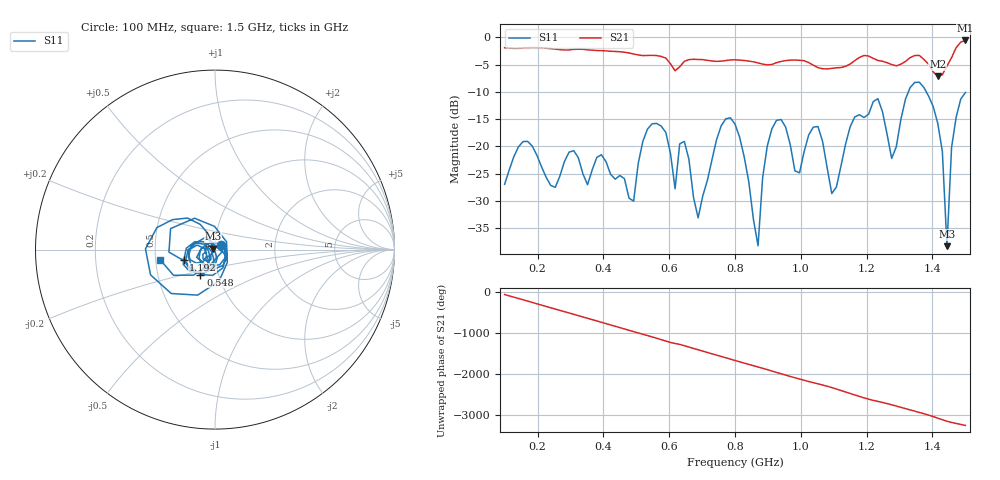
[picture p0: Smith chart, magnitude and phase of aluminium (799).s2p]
! NanoVNA-App
! Date: 2025-09-25 15:01:30
! Start: 100MHz Stop: 1,5GHz Points: 101
! S-Parameter data: F S11 S21 S12 S22
# Hz S RI R 50
!  Frequency  S11_Real  S11_Imag  S21_Real  S21_Imag  S12_Real  S12_Imag  S22_Real  S22_Imag
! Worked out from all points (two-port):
!   101 points, 100 MHz to 1.5 GHz, reference 50 ohm
!   highest |S21| = -0.58 dB at 1.5 GHz (marker M1); lowest = -7.1 dB at 1.416 GHz (marker M2)
!   |S21| within 3 dB of the highest: start of sweep to 579.1 MHz; 1.459 GHz to end of sweep (the widest 2 of 4)
!   lowest |S11| = -38.3 dB at 1.444 GHz (marker M3), VSWR 1.02, Z = 48.9 + j0.537 ohm
!   |S11| at or under -10 dB: start of sweep to 1.327 GHz; 1.381 GHz to end of sweep
!   S12 and S22 are empty: the file has one direction only
!   S11 on the Smith chart (normalised r, x): 100 MHz: 1.07, +0.06; 548 MHz: 0.82, -0.23; 1.192 GHz: 0.70, -0.08; 1.5 GHz: 0.53, -0.07
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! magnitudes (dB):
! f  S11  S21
! 100 MHz  -27.0  -1.9
! 156 MHz  -19.1  -2.0
! 338 MHz  -25.1  -2.2
! 492 MHz  -30.0  -3.1
! 548 MHz  -15.9  -3.3
! 576 MHz  -16.3  -3.5
! 618 MHz  -27.8  -6.1
! 646 MHz  -19.1  -4.4
! 688 MHz  -33.1  -4.1
! 800 MHz  -15.9  -4.1
! 870 MHz  -38.2  -4.7
! 912 MHz  -16.8  -5.0
! 996 MHz  -24.9  -4.2
! 1.038 GHz  -16.5  -5.1
! 1.094 GHz  -28.6  -5.7
! 1.192 GHz  -14.7  -3.3
! 1.276 GHz  -22.2  -5.0
! 1.346 GHz  -8.3  -3.3
! 1.416 GHz  -15.8  -7.1
! 1.444 GHz  -38.3  -5.3
! 1.458 GHz  -20.2  -3.7
! 1.5 GHz  -10.1  -0.6
